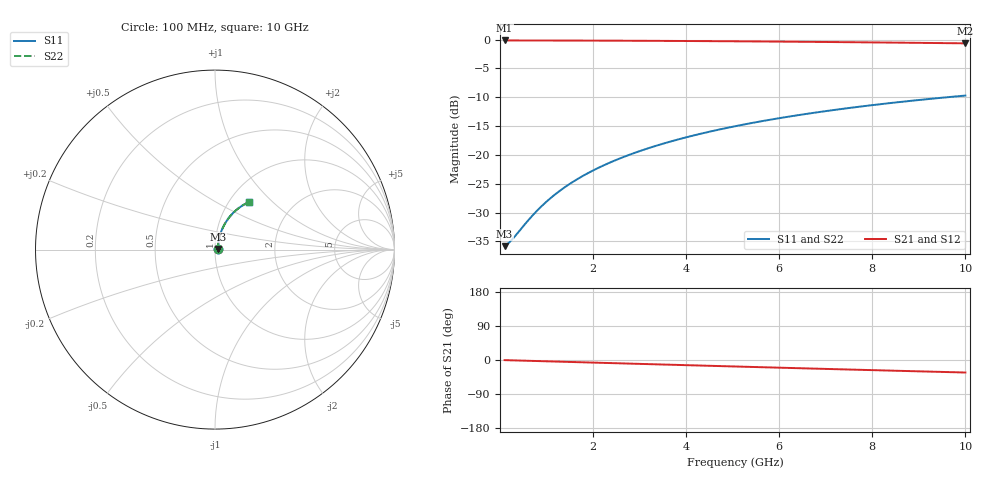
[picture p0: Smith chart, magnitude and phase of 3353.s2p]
# Hz S RI R 50.00
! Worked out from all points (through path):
!   100 points, 100 MHz to 10 GHz, reference 50 ohm
!   highest |S21| = -0.14 dB at 100 MHz (marker M1); lowest = -0.6 dB at 10 GHz (marker M2)
!   group delay of S21, straight-line fit = 9.2 ps
!   lowest |S11| = -35.8 dB at 100 MHz (marker M3), VSWR 1.03, Z = 51.6 + j0.36 ohm
!   |S11| at or under -10 dB: start of sweep to 9.598 GHz
!   |S22| runs from -35.8 to -9.7 dB; largest |S21 - S12| = 0
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1e8  0.0158 0.00349  0.9842 -0.00588  0.9842 -0.00588  0.0158 0.00349
2e8  0.0159 0.00698  0.9841 -0.0118  0.9841 -0.0118  0.0159 0.00698
3e8  0.0161 0.0105  0.9839 -0.0176  0.9839 -0.0176  0.0161 0.0105
7e8  0.0171 0.0244  0.9827 -0.0411  0.9827 -0.0411  0.0171 0.0244
8e8  0.0175 0.0279  0.9823 -0.047  0.9823 -0.047  0.0175 0.0279
1e9  0.0183 0.0348  0.9814 -0.0586  0.9814 -0.0586  0.0183 0.0348
1.2e9  0.0193 0.0417  0.9803 -0.0703  0.9803 -0.0703  0.0193 0.0417
1.4e9  0.0204 0.0485  0.979 -0.082  0.979 -0.082  0.0204 0.0485
1.6e9  0.0217 0.0554  0.9775 -0.0936  0.9775 -0.0936  0.0217 0.0554
1.8e9  0.0231 0.0622  0.9759 -0.1052  0.9759 -0.1052  0.0231 0.0622
2.1e9  0.0256 0.0723  0.9731 -0.1224  0.9731 -0.1224  0.0256 0.0723
2.5e9  0.0294 0.0856  0.9687 -0.1453  0.9687 -0.1453  0.0294 0.0856
2.9e9  0.0339 0.0987  0.9636 -0.168  0.9636 -0.168  0.0339 0.0987
3.4e9  0.0403 0.1147  0.9563 -0.196  0.9563 -0.196  0.0403 0.1147
3.8e9  0.0461 0.1271  0.9497 -0.218  0.9497 -0.218  0.0461 0.1271
4.2e9  0.0524 0.1393  0.9424 -0.2398  0.9424 -0.2398  0.0524 0.1393
5.1e9  0.0685 0.1652  0.9238 -0.2874  0.9238 -0.2874  0.0685 0.1652
5.9e9  0.0849 0.1866  0.9048 -0.328  0.9048 -0.328  0.0849 0.1866
6.7e9  0.1031 0.2061  0.8837 -0.3669  0.8837 -0.3669  0.1031 0.2061
7.5e9  0.1227 0.2238  0.8607 -0.4039  0.8607 -0.4039  0.1227 0.2238
8.4e9  0.1463 0.2412  0.8328 -0.4431  0.8328 -0.4431  0.1463 0.2412
1e10  0.1911 0.2656  0.779 -0.5065  0.779 -0.5065  0.1911 0.2656
